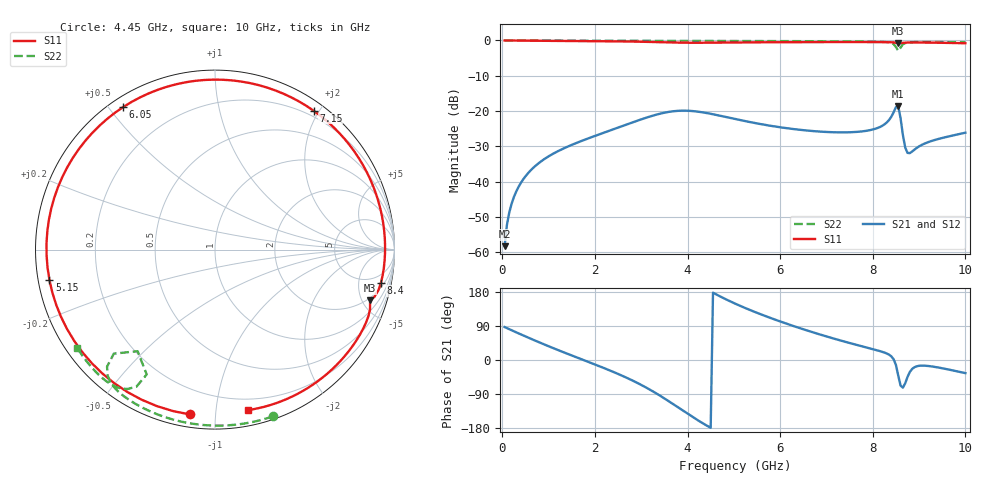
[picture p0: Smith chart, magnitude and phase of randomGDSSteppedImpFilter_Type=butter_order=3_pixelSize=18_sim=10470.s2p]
! freq	dB(S11)	phase(S11)	dB(S12)	phase(S12)
!  dB(S21)	phase(S21)	dB(S22)	phase(S22)
!S-par simulation data
#  GHz  S  DB  R 50
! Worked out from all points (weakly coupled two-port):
!   200 points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, 50 MHz to 10 GHz, reference 50 ohm
!   highest |S21| = -18.65 dB at 8.55 GHz (marker M1); lowest = -58.2 dB at 50 MHz (marker M2)
!   lowest |S11| = -0.8 dB at 8.55 GHz (marker M3), VSWR 21.02, Z = 88.3 - j288 ohm
!   |S11| at or under -10 dB: nowhere
!   |S22| runs from -3.0 to 0.0 dB; largest |S21 - S12| = 0
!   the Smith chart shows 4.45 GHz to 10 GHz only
!   S11 on the Smith chart (normalised r, x): 4.45 GHz: 0.06, -0.86; 5.15 GHz: 0.03, -0.09; 6.05 GHz: 0.04, +0.54; 7.15 GHz: 0.12, +1.93; 8.4 GHz: 2.78, -9.27; 10 GHz: 0.11, -1.22
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0.05  -0.00 -4.8  -58.21 86.9  -58.21 86.9  -0.00 -0.9
0.15  -0.02 -14.2  -48.72 81.3  -48.72 81.3  -0.00 -2.5
0.3  -0.04 -28.2  -42.77 73.1  -42.77 73.1  -0.01 -5.1
0.9  -0.10 -81.8  -33.63 41.3  -33.63 41.3  -0.02 -15.1
1.75  -0.17 -150.9  -28.24 0.1  -28.24 0.1  -0.04 -29.2
2.15  -0.20 177.0  -26.31 -19.0  -26.31 -19.0  -0.06 -35.7
2.55  -0.26 142.4  -24.42 -39.4  -24.42 -39.4  -0.07 -42.1
3  -0.36 97.0  -22.33 -65.7  -22.33 -65.7  -0.09 -49.2
3.4  -0.49 47.7  -20.75 -93.7  -20.75 -93.7  -0.11 -55.4
3.85  -0.63 -16.8  -19.88 -129.5  -19.88 -129.5  -0.13 -62.1
4.15  -0.66 -59.8  -20.03 -153.5  -20.03 -153.5  -0.14 -66.5
4.45  -0.64 -98.6  -20.63 -175.5  -20.63 -175.5  -0.14 -70.9
5.05  -0.57 -160.9  -22.29 147.5  -22.29 147.5  -0.15 -79.6
5.15  -0.56 -169.6  -22.57 142.2  -22.57 142.2  -0.15 -81.1
6.05  -0.49 122.8  -24.66 99.6  -24.66 99.6  -0.18 -93.8
6.7  -0.47 81.2  -25.63 73.3  -25.63 73.3  -0.21 -102.7
7.15  -0.45 54.7  -25.98 56.8  -25.98 56.8  -0.24 -108.9
8.35  -0.49 -8.8  -22.54 14.2  -22.54 14.2  -0.56 -128.6
8.4  -0.51 -11.3  -21.60 9.7  -21.60 9.7  -0.71 -130.4
8.55  -0.83 -18.1  -18.65 -41.2  -18.65 -41.2  -2.96 -127.3
8.75  -0.59 -25.8  -31.82 -44.8  -31.82 -44.8  -0.59 -124.0
10  -0.79 -78.5  -26.10 -34.7  -26.10 -34.7  -0.51 -144.4
